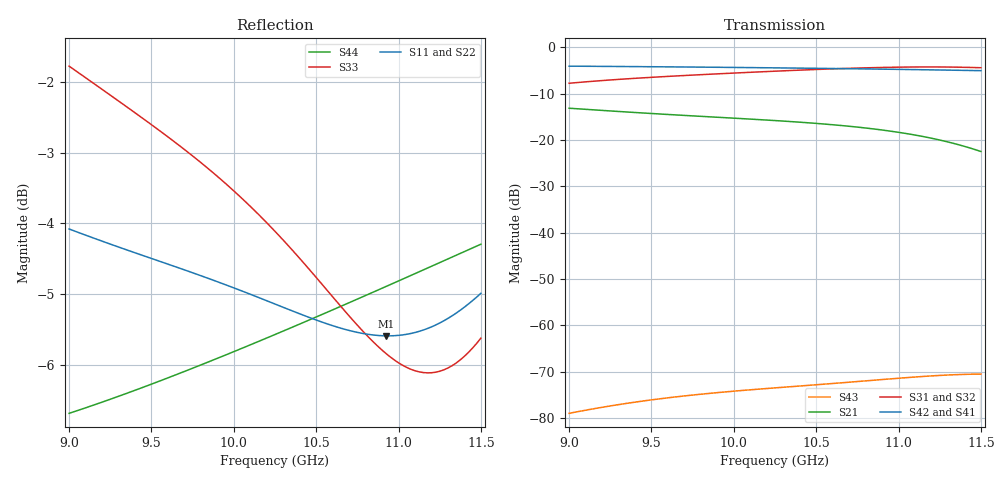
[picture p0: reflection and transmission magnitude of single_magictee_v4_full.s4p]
! Generated from PyAEDT SolutionData; AEDT ExportNetworkData workaround
# GHz S MA R 50
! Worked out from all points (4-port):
!   101 points, 9 GHz to 11.5 GHz, reference 50 ohm
!   strongest paths, dB at 9 GHz, 9.625 GHz, 10.25 GHz, 10.88 GHz, 11.5 GHz:
!     S42: -4.1, -4.2, -4.4, -4.7, -5.0
!     S41: -4.1, -4.2, -4.4, -4.7, -5.0
!     S31: -7.7, -6.2, -5.1, -4.4, -4.4
!     S32: -7.7, -6.2, -5.1, -4.4, -4.4
!     S21: -13.1, -14.5, -15.8, -17.7, -22.5
!     S43: -79.0, -75.5, -73.5, -71.8, -70.5
!   lowest |S11| = -5.6 dB at 10.93 GHz (marker M1), VSWR 3.21, Z = 15.8 - j6.52 ohm
!   |S11| at or under -10 dB: nowhere
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9  0.6253 47.4  0.2205 12.1  0.4099 16.3  0.6265 42.4
   0.2205 12.1  0.6249 47.4  0.4098 16.3  0.6269 -137.6
   0.4099 16.3  0.4098 16.3  0.8149 174.1  0.0001124 177.5
   0.6265 42.4  0.6269 -137.6  0.0001124 177.5  0.4633 -158.6
9.325  0.6058 8.1  0.2021 -34.7  0.4543 -43.0  0.6211 5.7
       0.2021 -34.7  0.6054 8.0  0.4543 -43.0  0.6215 -174.3
       0.4543 -43.0  0.4543 -43.0  0.7663 96.2  0.0001418 94.1
       0.6211 5.7  0.6215 -174.3  0.0001418 94.1  0.4774 166.6
9.7  0.585 -35.5  0.1844 -88.4  0.4969 -109.0  0.6139 -35.4
     0.1844 -88.4  0.5848 -35.6  0.4968 -109.0  0.6142 144.6
     0.4969 -109.0  0.4968 -109.0  0.7116 9.5  0.0001732 0.0
     0.6139 -35.4  0.6142 144.6  0.0001732 0.0  0.4959 127.4
10.15  0.5593 -85.4  0.1663 -153.5  0.5433 174.3  0.6036 -83.3
       0.1663 -153.5  0.5594 -85.5  0.543 174.3  0.6038 96.6
       0.5433 174.3  0.543 174.3  0.6402 -92.0  0.0002049 -113.1
       0.6036 -83.3  0.6038 96.6  0.0002049 -113.1  0.5207 81.5
10.525  0.5379 -124.6  0.15 151.3  0.5796 111.2  0.5935 -122.4
        0.15 151.3  0.5383 -124.7  0.5791 111.1  0.5937 57.6
        0.5796 111.2  0.5791 111.1  0.5734 -178.0  0.0002303 150.2
        0.5935 -122.4  0.5937 57.6  0.0002303 150.2  0.5434 43.9
10.925  0.5255 -163.5  0.1266 92.6  0.6084 43.4  0.5811 -163.4
        0.1266 92.6  0.5261 -163.5  0.6077 43.4  0.5814 16.6
        0.6084 43.4  0.6077 43.4  0.5105 84.3  0.0002623 44.9
        0.5811 -163.4  0.5814 16.6  0.0002623 44.9  0.5695 4.2
11.5  0.5631 143.2  0.07523 17.9  0.6029 -55.3  0.5601 138.4
      0.07523 17.9  0.5637 143.2  0.602 -55.3  0.5606 -41.6
      0.6029 -55.3  0.602 -55.3  0.5235 -67.1  0.0002979 -104.4
      0.5601 138.4  0.5606 -41.6  0.0002979 -104.4  0.61 -52.1
